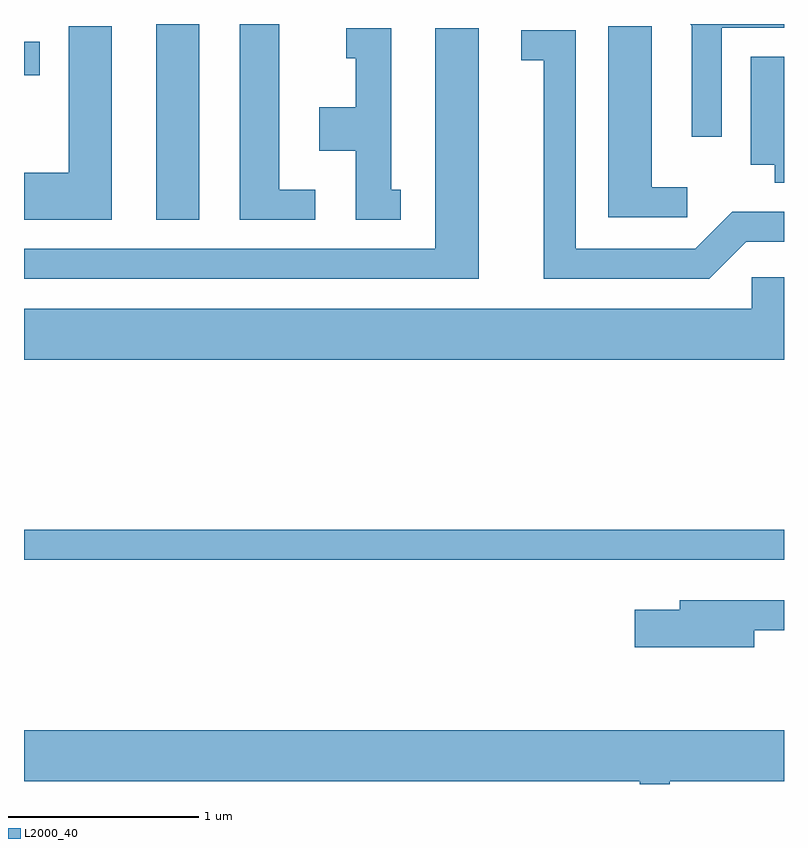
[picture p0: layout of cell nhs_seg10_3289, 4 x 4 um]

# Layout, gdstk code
import gdstk
lib = gdstk.Library(unit=1e-6, precision=1e-09)
def R(c, l, rs):  # rectangles x0, y0, x1, y1
    for r in rs: c.add(gdstk.rectangle(r[:2], r[2:], *l))
def P(c, l, *ps):  # polygons
    for p in ps: c.add(gdstk.Polygon(p, *l))
L2000_40 = (2000, 40)

nhs_seg10_3289 = lib.new_cell('nhs_seg10_3289')
R(nhs_seg10_3289, L2000_40, [(281.611,2161.701,285.611,2161.859), (282.306,2163.491,282.534,2164.522), (281.611,2164.251,281.694,2164.429)])
P(nhs_seg10_3289, L2000_40, [(283.143,2163.649),(282.954,2163.649),(282.954,2164.522),(282.746,2164.522),(282.746,2163.491),(283.143,2163.491)],
  [(285.284,2164.501),(285.611,2164.501),(285.611,2164.522),(285.118,2164.522),(285.126,2164.514),(285.126,2163.928),(285.284,2163.928)],
  [(285.103,2163.664),(284.914,2163.664),(284.914,2164.509),(284.686,2164.509),(284.686,2163.506),(285.103,2163.506)],
  [(282.074,2164.509),(281.846,2164.509),(281.846,2163.739),(281.611,2163.739),(281.611,2163.491),(282.074,2163.491)],
  [(283.593,2163.649),(283.544,2163.649),(283.544,2164.499),(283.308,2164.499),(283.308,2164.341),(283.356,2164.341),(283.356,2164.084),(283.166,2164.084),(283.166,2163.856),(283.356,2163.856),(283.356,2163.491),(283.593,2163.491)],
  [(284.004,2164.499),(283.776,2164.499),(283.776,2163.339),(281.611,2163.339),(281.611,2163.181),(284.004,2163.181)],
  [(285.412,2163.376),(285.611,2163.376),(285.611,2163.534),(285.339,2163.534),(285.144,2163.339),(284.514,2163.339),(284.514,2164.489),(284.228,2164.489),(284.228,2164.331),(284.346,2164.331),(284.346,2163.181),(285.217,2163.181)],
  [(285.611,2164.349),(285.436,2164.349),(285.436,2163.781),(285.561,2163.781),(285.561,2163.686),(285.611,2163.686)],
  [(285.611,2163.189),(285.441,2163.189),(285.441,2163.024),(281.611,2163.024),(281.611,2162.756),(285.611,2162.756)],
  [(285.454,2161.331),(285.611,2161.331),(285.611,2161.489),(285.061,2161.489),(285.061,2161.439),(284.826,2161.439),(284.826,2161.241),(285.454,2161.241)],
  [(285.009,2160.536),(285.611,2160.536),(285.611,2160.804),(281.611,2160.804),(281.611,2160.536),(284.851,2160.536),(284.851,2160.522),(285.009,2160.522)])

lib.write_gds('nhs_seg10_3289.gds')
